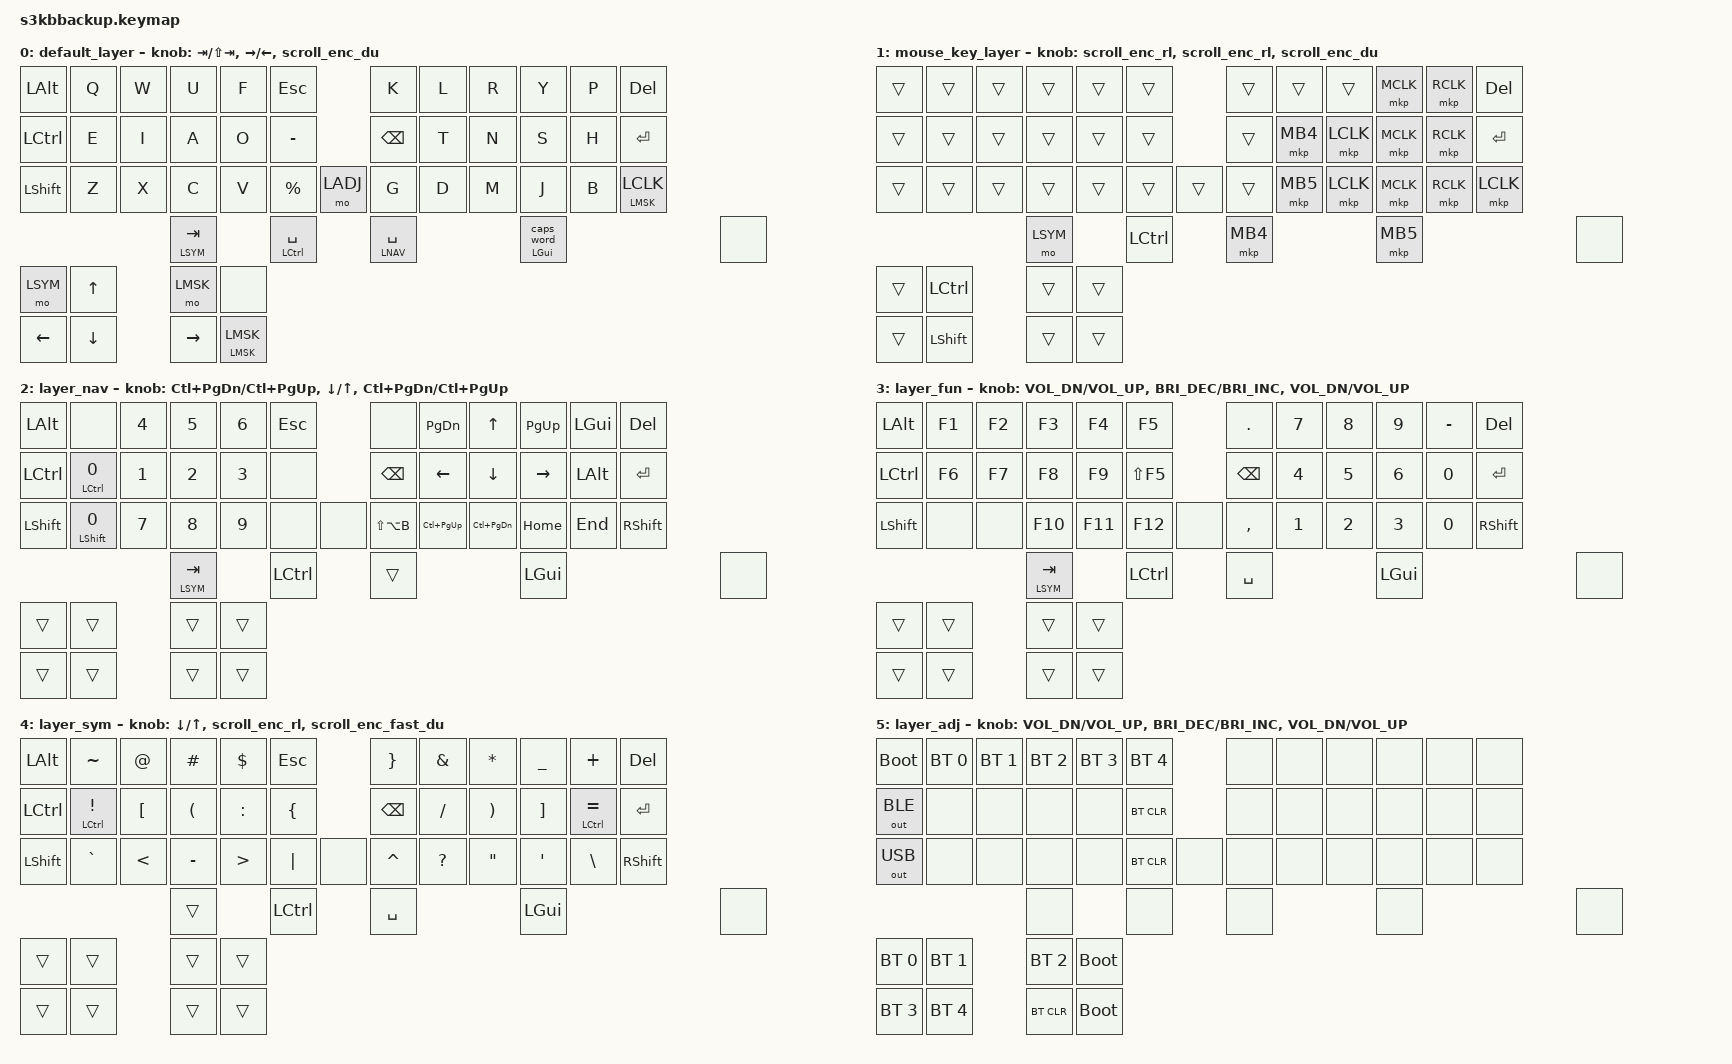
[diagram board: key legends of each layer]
#include <behaviors.dtsi>
#include <dt-bindings/zmk/keys.h>
#include <dt-bindings/zmk/bt.h>
#include <dt-bindings/zmk/outputs.h>
#include <dt-bindings/zmk/mouse.h>


#define LDEF 0
#define LMSK 1
#define LNAV 2
#define LFUN 3
#define LSYM 4
#define LADJ 5

#define ZMK_MOUSE_ENC_SCRL_VAL 70
#define SCRL_ENC_UP MOVE_Y(ZMK_MOUSE_ENC_SCRL_VAL)
#define SCRL_ENC_DOWN MOVE_Y(-ZMK_MOUSE_ENC_SCRL_VAL)
#define SCRL_ENC_LEFT MOVE_X(-ZMK_MOUSE_ENC_SCRL_VAL)
#define SCRL_ENC_RIGHT MOVE_X(ZMK_MOUSE_ENC_SCRL_VAL)
#define ZMK_MOUSE_ENC_SCRL_FAST_VAL 140
#define SCRL_ENC_FAST_UP MOVE_Y(ZMK_MOUSE_ENC_SCRL_FAST_VAL)
#define SCRL_ENC_FAST_DOWN MOVE_Y(-ZMK_MOUSE_ENC_SCRL_FAST_VAL)
#define SCRL_ENC_FAST_LEFT MOVE_X(-ZMK_MOUSE_ENC_SCRL_FAST_VAL)
#define SCRL_ENC_FAST_RIGHT MOVE_X(ZMK_MOUSE_ENC_SCRL_FAST_VAL)

&mt {
    tapping-term-ms = <175>;
    flavor = "tap-preferred";
};

&lt {
    tapping-term-ms = <175>;
    flavor = "balanced";
};

&caps_word {
    continue-list = <UNDERSCORE MINUS BACKSPACE>;
};

/ {
    trackball_listener_mmv {
            compatible = "zmk,input-behavior-listener";
            device = <&trackball>;
            layers = <LDEF LMSK>;
            evt-type = <INPUT_EV_REL>;
            x-input-code = <INPUT_REL_X>;
            y-input-code = <INPUT_REL_Y>;
            scale-multiplier = <1>;
            scale-divisor = <1>;
            /* bind a behavior to auto activate MSK layer for &mkp */
            //bindings = <&ib_tog_layer LMSK>;
    };

    trackball_listener_msc {
            compatible = "zmk,input-behavior-listener";
            device = <&trackball>;
            layers = <LSYM>; 
            evt-type = <INPUT_EV_REL>;
            x-input-code = <INPUT_REL_MISC>;
            y-input-code = <INPUT_REL_WHEEL>;
            y-invert;
            bindings = <&ib_wheel_scaler 1 16>;
    };

    ib_wheel_scaler: ib_wheel_scaler {
            compatible = "zmk,input-behavior-scaler";
            #binding-cells = <2>;
            evt-type = <INPUT_EV_REL>;
            input-code = <INPUT_REL_WHEEL>;
    };

    encoders: encoders {
        compatible = "zmk,keymap-sensors";
        sensors = <&left_encoder &mid_encoder &right_encoder>;
        left_config{
            triggers-per-rotation = <7>;
        };
        mid_config{
            triggers-per-rotation = <24>;
        };
        right_config{
            triggers-per-rotation = <24>;
        };
    };

    behaviors {
        mcap: behavior_mo_caps {
            compatible = "zmk,behavior-hold-tap";
            #binding-cells = <2>;
            flavor = "tap-preferred";
            tapping-term-ms = <200>;
            bindings = <&kp>, <&caps_word>;
        };
        mtog: behavior_mo_tog {
            compatible = "zmk,behavior-hold-tap";
            #binding-cells = <2>;
            flavor = "hold-preferred";
            tapping-term-ms = <200>;
            bindings = <&mo>, <&tog>;
        };

        mlt: mouse_layer_tap {
            compatible = "zmk,behavior-hold-tap";
            #binding-cells = <2>;
            flavor = "tap-preferred";
            tapping-term-ms = <200>;
            bindings = <&mo>, <&mkp>;
        };

        scroll_enc_du: scroll_enc_du {
            compatible = "zmk,behavior-sensor-rotate";
            #sensor-binding-cells = <0>;
            bindings = <&msc SCRL_ENC_DOWN>, <&msc SCRL_ENC_UP>;
            tap-ms = <20>;
        };
        scroll_enc_fast_du: scroll_enc_fast_du {
            compatible = "zmk,behavior-sensor-rotate";
            #sensor-binding-cells = <0>;
            bindings = <&msc SCRL_ENC_FAST_DOWN>, <&msc SCRL_ENC_FAST_UP>;
            tap-ms = <20>;
        };

        scroll_enc_rl: scroll_enc_rl {
            compatible = "zmk,behavior-sensor-rotate";
            #sensor-binding-cells = <0>;
            bindings = <&msc SCRL_ENC_RIGHT>, <&msc SCRL_ENC_LEFT>;
            tap-ms = <20>;
        };

        scroll_enc_lr: scroll_enc_lr {
            compatible = "zmk,behavior-sensor-rotate";
            #sensor-binding-cells = <0>;
            bindings = <&msc SCRL_ENC_LEFT>, <&msc SCRL_ENC_RIGHT>;
            tap-ms = <20>;
        };
    };

    combos{
        compatible = "zmk,combos";
        timeout-ms = <200>;

        // key-position = row*7 + col
        //    RC(0,0) RC(0,1) RC(0,2) RC(0,3) RC(0,4) RC(0,5)         RC(0,6) RC(1,0) RC(1,1) RC(1,2) RC(1,3) RC(1,4)
        //    RC(1,5) RC(1,6) RC(2,0) RC(2,1) RC(2,2) RC(2,3)         RC(2,4) RC(2,5) RC(2,6) RC(3,0) RC(3,1) RC(3,2)
        //    RC(3,3) RC(3,4) RC(3,5) RC(3,6) RC(4,0) RC(4,1) RC(4,2) RC(4,3) RC(4,4) RC(4,5) RC(4,6) RC(5,0) RC(5,1)
        //                                    RC(5,2) RC(5,3)         RC(5,4) RC(5,5)                                   RC(5,6)

        combo_right_2TM {
            key-positions = <7 19>;
            bindings = <&kp COMMA>;
        };
        combo_right_3TM {
            key-positions = <8 20>;
            bindings = <&kp DOT>;
        };
        combo_right_4TM {
            key-positions = <9 21>;
            bindings = <&kp SEMI>;
        };
        combo_right_5MB {
            key-positions = <22 35>;
            bindings = <&kp RET>;
        };
        combo_right_6MB {
            key-positions = <23 36>;
            bindings = <&kp RET>;
        };
        combo_right_56B {
            key-positions = <35 36>;
            bindings = <&mkp LCLK>;
        };
        combo_right_456B {
            key-positions = <34 35 36>;
            bindings = <&mo LSYM>;
        };
        combo_right_45B {
            key-positions = <34 35>;
            bindings = <&mo LFUN>;
        };
        combo_left_54B {
            key-positions = <25 26>;
            bindings = <&mo LFUN>;
        };
        combo_left_thum {
            key-positions = <37 38>;
            bindings = <&mo LFUN>;
        };
    };

    keymap {
        compatible = "zmk,keymap";

        default_layer {
            bindings = <
            &kp LALT  &kp Q &kp W &kp U &kp F &kp ESC                  &kp K    &kp L &kp R &kp Y &kp P &kp DEL
            &kp LCTRL &kp E &kp I &kp A &kp O &kp MINUS                &kp BSPC &kp T &kp N &kp S &kp H &kp RET
            &kp LSHFT &kp Z &kp X &kp C &kp V &kp PRCNT      &mo LADJ  &kp G    &kp D &kp M &kp J &kp B &mlt LMSK LCLK
                                    &lt LSYM TAB &mt LCTRL SPACE           &lt LNAV SPACE &mcap LGUI 0                &none
            &mo LSYM  &kp UP    &mo LMSK   &none
            &kp LEFT  &kp DOWN  &kp RIGHT  &mtog LMSK LMSK
            >;
            /* cw-ccw = right-left = down-up */
            sensor-bindings = <&inc_dec_kp TAB LS(TAB) &inc_dec_kp RIGHT LEFT &scroll_enc_du >; 
        };
        
        mouse_key_layer {
            bindings = <
            &trans &trans &trans &trans &trans &trans        &trans &trans   &trans    &mkp MCLK &mkp RCLK &kp DEL
            &trans &trans &trans &trans &trans &trans        &trans &mkp MB4 &mkp LCLK &mkp MCLK &mkp RCLK &kp RET 
            &trans &trans &trans &trans &trans &trans &trans &trans &mkp MB5 &mkp LCLK &mkp MCLK &mkp RCLK &mkp LCLK 
                                  &mo LSYM &kp LCTRL         &mkp MB4 &mkp MB5                        &none
            &trans &kp LCTRL &trans &trans
            &trans &kp LSHFT &trans &trans
            >;
            /* cw-ccw = right-left = down-up */
            sensor-bindings = <&scroll_enc_rl &scroll_enc_rl &scroll_enc_du >; 
        };
        
        layer_nav {
            bindings = <
            &kp LALT  &none        &kp N4 &kp N5 &kp N6  &kp ESC         &none         &kp PG_DN     &kp UP        &kp PG_UP    &kp LGUI &kp DEL 
            &kp LCTRL &mt LCTRL N0 &kp N1 &kp N2 &kp N3  &none           &kp BSPC      &kp LEFT      &kp DOWN      &kp RIGHT    &kp LALT &kp RET
            &kp LSHFT &mt LSHFT N0 &kp N7 &kp N8 &kp N9  &none    &none  &kp LS(LA(B)) &kp LC(PG_UP) &kp LC(PG_DN) &kp HOME     &kp END  &kp RSHFT
                                        &lt LSYM TAB   &kp LCTRL         &trans     &kp LGUI                    &none
            &trans &trans &trans &trans
            &trans &trans &trans &trans
            >;
            /* cw-ccw = right-left = down-up */
            sensor-bindings = <&inc_dec_kp LC(PG_DN) LC(PG_UP) &inc_dec_kp DOWN UP &inc_dec_kp LC(PG_DN) LC(PG_UP) >; 
        };

        layer_fun {
            bindings = <
            &kp LALT   &kp F1 &kp F2 &kp F3  &kp F4  &kp F5                &kp DOT    &kp N7 &kp N8 &kp N9 &kp MINUS &kp DEL 
            &kp LCTRL  &kp F6 &kp F7 &kp F8  &kp F9  &kp LS(F5)            &kp BSPC   &kp N4 &kp N5 &kp N6 &kp N0    &kp RET
            &kp LSHFT  &none  &none  &kp F10 &kp F11 &kp F12         &none &kp COMMA  &kp N1 &kp N2 &kp N3 &kp N0    &kp RSHFT
                                            &lt LSYM TAB   &kp LCTRL       &kp SPACE  &kp LGUI                     &none
            
            &trans &trans &trans &trans
            &trans &trans &trans &trans
            >;
            /* cw-ccw = right-left = down-up */
            sensor-bindings = <&inc_dec_kp C_VOL_DN C_VOL_UP &inc_dec_kp C_BRI_DEC C_BRI_INC &inc_dec_kp C_VOL_DN C_VOL_UP>;
        };

        layer_sym {
            bindings = <
            &kp LALT   &kp TILDE      &kp AT   &kp HASH    &kp DLLR    &kp ESC             &kp RBRC    &kp AMPS    &kp STAR    &kp UNDER   &kp PLUS        &kp DEL 
            &kp LCTRL  &mt LCTRL EXCL &kp LBKT &kp LPAR    &kp COLON   &kp LBRC            &kp BSPC    &kp FSLH    &kp RPAR    &kp RBKT    &mt LCTRL EQUAL &kp RET
            &kp LSHFT  &kp GRAVE      &kp LT   &kp MINUS   &kp GT      &kp PIPE  &none     &kp CARET   &kp QMARK   &kp DQT     &kp SQT     &kp BSLH        &kp RSHFT
                                                           &trans      &kp LCTRL           &kp SPACE   &kp LGUI                  &none
            &trans &trans &trans &trans
            &trans &trans &trans &trans
            >;
            /* cw-ccw = right-left = down-up */
            sensor-bindings = <&inc_dec_kp DOWN UP &scroll_enc_rl &scroll_enc_fast_du>;
        };

        layer_adj {
            bindings = <
            &bootloader  &bt BT_SEL 0 &bt BT_SEL 1 &bt BT_SEL 2 &bt BT_SEL 3 &bt BT_SEL 4       &none &none &none &none &none &none
            &out OUT_BLE &none        &none        &none        &none        &bt BT_CLR         &none &none &none &none &none &none       
            &out OUT_USB &none        &none        &none        &none        &bt BT_CLR   &none &none &none &none &none &none &none            
                                                                &none      &none                &none &none                         &none
            &bt BT_SEL 0 &bt BT_SEL 1 &bt BT_SEL 2 &bootloader
            &bt BT_SEL 3 &bt BT_SEL 4 &bt BT_CLR   &bootloader
            >;
            sensor-bindings = <&inc_dec_kp C_VOL_DN C_VOL_UP &inc_dec_kp C_BRI_DEC C_BRI_INC &inc_dec_kp C_VOL_DN C_VOL_UP>;
        };
    };

};

